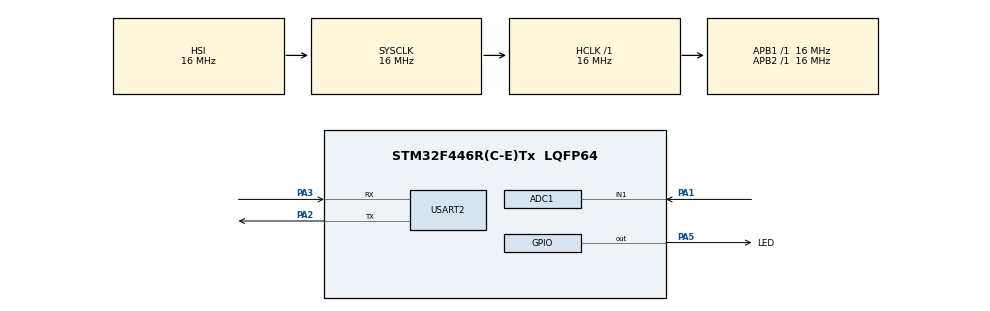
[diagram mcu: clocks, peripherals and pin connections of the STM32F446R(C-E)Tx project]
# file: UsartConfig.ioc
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ADC1.Channel-20\#ChannelRegularConversion=ADC_CHANNEL_1
ADC1.ClockPrescaler=ADC_CLOCK_SYNC_PCLK_DIV8
ADC1.ContinuousConvMode=ENABLE
ADC1.DMAContinuousRequests=ENABLE
ADC1.NbrOfConversionFlag=1
ADC1.Rank-20\#ChannelRegularConversion=1
ADC1.SamplingTime-20\#ChannelRegularConversion=ADC_SAMPLETIME_480CYCLES
ADC1.master=1
Dma.ADC1.0.Direction=DMA_PERIPH_TO_MEMORY
Dma.ADC1.0.FIFOMode=DMA_FIFOMODE_ENABLE
Dma.ADC1.0.FIFOThreshold=DMA_FIFO_THRESHOLD_HALFFULL
Dma.ADC1.0.Instance=DMA2_Stream0
Dma.ADC1.0.MemBurst=DMA_MBURST_SINGLE
Dma.ADC1.0.MemDataAlignment=DMA_MDATAALIGN_WORD
Dma.ADC1.0.MemInc=DMA_MINC_ENABLE
Dma.ADC1.0.Mode=DMA_CIRCULAR
Dma.ADC1.0.PeriphBurst=DMA_PBURST_SINGLE
Dma.ADC1.0.PeriphDataAlignment=DMA_PDATAALIGN_WORD
Dma.ADC1.0.PeriphInc=DMA_PINC_DISABLE
Dma.ADC1.0.Priority=DMA_PRIORITY_LOW
Dma.Request0=ADC1
Mcu.Family=STM32F4
Mcu.Name=STM32F446R(C-E)Tx
Mcu.Package=LQFP64
NVIC.ADC_IRQn=true\:0\:0\:false\:false\:true\:true
NVIC.DMA2_Stream0_IRQn=true\:0\:0\:false\:false\:true\:false
NVIC.PriorityGroup=NVIC_PRIORITYGROUP_4
NVIC.USART2_IRQn=true\:0\:0\:false\:false\:true\:true
PA1.Signal=ADCx_IN1
PA2.Mode=Asynchronous
PA2.Signal=USART2_TX
PA3.Mode=Asynchronous
PA3.Signal=USART2_RX
PA5.GPIO_Label=LED
PA5.Signal=GPIO_Output
PH0-OSC_IN.Mode=HSE-External-Oscillator
PH0-OSC_IN.Signal=RCC_OSC_IN
PH1-OSC_OUT.Mode=HSE-External-Oscillator
PH1-OSC_OUT.Signal=RCC_OSC_OUT
ProjectManager.HeapSize=0x200
ProjectManager.StackSize=0x400
ProjectManager.TargetToolchain=MDK-ARM V5
RCC.AHBFreq_Value=16000000
RCC.APB1Freq_Value=16000000
RCC.APB1TimFreq_Value=16000000
RCC.APB2Freq_Value=16000000
RCC.APB2TimFreq_Value=16000000
RCC.CortexFreq_Value=16000000
RCC.HCLKFreq_Value=16000000
RCC.PLLM=8
RCC.PLLN=72
RCC.SYSCLKFreq_VALUE=16000000
RCC.USBFreq_Value=72000000
RCC.VCOOutputFreq_Value=144000000
SH.ADCx_IN1.0=ADC1_IN1,IN1
USART2.VirtualMode=VM_ASYNC
board=UsartConfig

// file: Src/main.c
/**
  ******************************************************************************
  * File Name          : main.c
  * Description        : Main program body
  ******************************************************************************
  ** This notice applies to any and all portions of this file
  * that are not between comment pairs USER CODE BEGIN and
  * USER CODE END. Other portions of this file, whether
  * inserted by the user or by software development tools
  * are owned by their respective copyright owners.
  *
  * COPYRIGHT(c) 2018 STMicroelectronics
  *
  * Redistribution and use in source and binary forms, with or without modification,
  * are permitted provided that the following conditions are met:
  *   1. Redistributions of source code must retain the above copyright notice,
  *      this list of conditions and the following disclaimer.
  *   2. Redistributions in binary form must reproduce the above copyright notice,
  *      this list of conditions and the following disclaimer in the documentation
  *      and/or other materials provided with the distribution.
  *   3. Neither the name of STMicroelectronics nor the names of its contributors
  *      may be used to endorse or promote products derived from this software
  *      without specific prior written permission.
  *
  * THIS SOFTWARE IS PROVIDED BY THE COPYRIGHT HOLDERS AND CONTRIBUTORS "AS IS"
  * AND ANY EXPRESS OR IMPLIED WARRANTIES, INCLUDING, BUT NOT LIMITED TO, THE
  * IMPLIED WARRANTIES OF MERCHANTABILITY AND FITNESS FOR A PARTICULAR PURPOSE ARE
  * DISCLAIMED. IN NO EVENT SHALL THE COPYRIGHT HOLDER OR CONTRIBUTORS BE LIABLE
  * FOR ANY DIRECT, INDIRECT, INCIDENTAL, SPECIAL, EXEMPLARY, OR CONSEQUENTIAL
  * DAMAGES (INCLUDING, BUT NOT LIMITED TO, PROCUREMENT OF SUBSTITUTE GOODS OR
  * SERVICES; LOSS OF USE, DATA, OR PROFITS; OR BUSINESS INTERRUPTION) HOWEVER
  * CAUSED AND ON ANY THEORY OF LIABILITY, WHETHER IN CONTRACT, STRICT LIABILITY,
  * OR TORT (INCLUDING NEGLIGENCE OR OTHERWISE) ARISING IN ANY WAY OUT OF THE USE
  * OF THIS SOFTWARE, EVEN IF ADVISED OF THE POSSIBILITY OF SUCH DAMAGE.
  *
  ******************************************************************************
  */

#include "main.h"
#include "stm32f4xx_hal.h"

/* USER CODE BEGIN Includes */
#include "string.h"
#include "math.h"

/* USER CODE END Includes */

ADC_HandleTypeDef hadc1;
DMA_HandleTypeDef hdma_adc1;

UART_HandleTypeDef huart2;

/* USER CODE BEGIN PV */
/* Private variables ---------------------------------------------------------*/

#define RX_BUFFER_SIZE 1000
#define TX_BUFFER_SIZE 1000
#define RX_STR_UNTIL_LF_SIZE 1000
#define ADC_BUFFER_SIZE 1000
#define CMD_ARRAY_SIZE 1000
#define PARAM_ARRAY_SIZE 1000
uint8_t rx_Buffer[RX_BUFFER_SIZE];
uint8_t tx_Buffer[TX_BUFFER_SIZE];
char rx_str_until_lf[RX_STR_UNTIL_LF_SIZE];
uint8_t char_to_send[1];
uint32_t ADC_Buffer[ADC_BUFFER_SIZE];
int cmd_Array[CMD_ARRAY_SIZE];
uint32_t param_Array[PARAM_ARRAY_SIZE];
char tabCheckCmd[5];

char cmdOne[] = {'c', 'm', 'd', '1', '\0'};
char cmdTwo[] = {'c', 'm', 'd', '2', '\0'};
char cmdThree[] = {'c', 'm', 'd', '3', '\0'};

//wskazniki do odczytu oraz zapisu w buforze
uint16_t volatile rx_rd_index;
uint16_t volatile rx_wr_index;
uint16_t volatile tx_wr_index;
uint16_t volatile tx_rd_index;
uint16_t volatile rx_str_until_lf_index;
uint16_t volatile tx_str_until_lf_index;
uint16_t volatile temp_wr_index;
uint16_t volatile cmd_Array_wr_index;
uint16_t volatile param_Array_wr_index;
uint16_t volatile cmd_Array_rd_index;
uint16_t volatile param_Array_rd_index;

float AverageADCValue;
float Temperature;
float Vsense;
float SD; // odchylenie standardowe (Standard Deviation)

const float V25 = 0.75;
const float Avg_slope = 0.001;
const float SupplyVoltage = 3.3;
const float ADCResolution = 4096.0;

		union
		{
		uint64_t i;
		float f;
		}var1,var2,var3,var4;

// liczniki elementów w buforze
uint16_t volatile rx_counter;
uint16_t volatile tx_counter;
uint16_t volatile cmd_counter;

uint32_t volatile tick_ms;
uint32_t volatile writeFlashTimeInterval;
uint32_t volatile measurementTime;
uint32_t volatile numberOfmeasurementsToReadFromFlash;
uint8_t volatile measurementInProgressFlag;
uint8_t volatile readyToDisplayFlag;
uint32_t volatile tx_Uart_tickstart;
uint32_t volatile blink_Led_tickstart;

uint16_t volatile transferInProgress;

// wskaznik, któremu zostanie przypisany pierwszy wolny adres podczas zapisu do pamieci FLASH
uint32_t *mem;
// adres pod którym zostanie zapisany pomiar
uint32_t Address;

// wskazuje na przepelnienie bufora
volatile uint8_t rx_overflow;

/* USER CODE END PV */

void SystemClock_Config(void);
static void MX_GPIO_Init(void);
static void MX_DMA_Init(void);
static void MX_USART2_UART_Init(void);
static void MX_ADC1_Init(void);

/* USER CODE BEGIN PFP */
/* Private function prototypes -----------------------------------------------*/

// prototyp funkcji, która przetwarza i interpretuje lancuch znaków przeslanych do mikrokontrolera przez UART
void processIncomingCharacters(void);
// prototyp funkckcji, kióra wykonuje rozpoznane polecenia
void executeCommands(void);
// protptyp funkcji czytajacej znak z bufora rxBuffer
char RxBufferGetChar(void);
// prototyp funkcji czytajacej znak z bufora tx_Buffer
char TxBufferGetChar(void);
// zeruje Rx_Str_Until_Lf_Buffer
void Clear_Rx_Str_Until_Lf_Buffer(void);
// zeruje Tx_Str_Until_Lf_Buffer
void Clear_char_to_send(void);
// porównuje dwa lancuchy znaków
int compare_strings(char *first, char *second);
// sprawdza czy za komenda znajduja sie 4 cyfry
void checkDigits(void);
// zapisuje do pamieci Flash
void writeFlash(void);
// odczytuje z pamieci Flash
void readFlash(int numberOfMeasurementsToRead);
// zwraca pierwszy wolny adres w sektorze
uint32_t* returnPointerToFirstEmptyAddressInSector(void);
// wyswietla pomiary na konsole monitora
void sendDataOverUart(void);
// miga dioda podczas pomiarów
void blinkLed(void);
// zatrzymuje pomiary
void stopMeasurements(void);
// inicjalizuje parametry nad podstawie wykrytych komend
void initializeParams(void);
/* USER CODE END PFP */

/* USER CODE BEGIN 0 */

// obsluga przerwania od wysylania
void HAL_UART_TxCpltCallback(UART_HandleTypeDef *huart){

			if (tx_counter > 0){

				char_to_send[0] = TxBufferGetChar();
				HAL_UART_Transmit_IT(&huart2, (uint8_t*)char_to_send, 1);
			}

			else if (tx_counter == 0)
			{
					transferInProgress = 0;
			}
}

// zwieksza indeks do zapisu i ponownie uruchamia przerwanie od odbioru
void HAL_UART_RxCpltCallback(UART_HandleTypeDef *huart){

		 rx_wr_index++;
		 rx_counter++;
		 if(rx_wr_index >= RX_BUFFER_SIZE)
		{
			rx_wr_index = 0;
		}

		HAL_UART_Receive_IT(&huart2,&rx_Buffer[rx_wr_index],1);

}

void HAL_ADC_ConvCpltCallback(ADC_HandleTypeDef *hadc){

	// liczy sredni pomiar i temperature
	int tmp = 0;
	float avg = 0.0;

	for (int i = 500 ; i < ADC_BUFFER_SIZE; i++)
	{
		tmp += ADC_Buffer[i];
	}

	avg = (float)tmp / 500;

	Vsense = (SupplyVoltage*avg)/(ADCResolution-1);
	Temperature = (Vsense - 0.5f) * 100;

	AverageADCValue = avg;

	float sum = 0.0;

	for (int i = 0; i < ADC_BUFFER_SIZE; i++)
	{
		sum += (ADC_Buffer[i] - avg) * (ADC_Buffer[i] - avg);
	}

	float Vsense_sum = (SupplyVoltage * sum) / (ADCResolution - 1);
	float sumC = (Vsense_sum - 0.5f) * 100;
	SD = (float)(sqrt(sumC / (double) 500));
}

void HAL_ADC_ConvHalfCpltCallback(ADC_HandleTypeDef *hadc){

	// liczy sredni pomiar i temperature
	int tmp = 0;
	float avg = 0.0;

	for (int i = 0 ; i < 500; i++)
	{
		tmp += ADC_Buffer[i];
	}

	avg = (float)tmp / 500;

	Vsense = (SupplyVoltage*avg)/(ADCResolution-1);
	Temperature = (Vsense - 0.5f) * 100;

	AverageADCValue = avg;

	float sum = 0.0;

	for (int i = 0; i < 500; i++)
	{
		sum += (ADC_Buffer[i] - avg) * (ADC_Buffer[i] - avg);
	}

	float Vsense_sum = (SupplyVoltage * sum) / (ADCResolution - 1);
	float sumC = (Vsense_sum - 0.5f) * 100;
	SD = (float)(sqrt(sumC / (double) 500));
}

void HAL_SYSTICK_Callback()
{
	tick_ms++;
	if (measurementTime != 0 && tick_ms % 1000 == 0)
	{
		measurementTime--;
	}

}

/* USER CODE END 0 */

int main(void)
{

  /* MCU Configuration----------------------------------------------------------*/

  /* Reset of all peripherals, Initializes the Flash interface and the Systick. */
  HAL_Init();

  /* Configure the system clock */
  SystemClock_Config();

  /* Initialize all configured peripherals */
  MX_GPIO_Init();
  MX_DMA_Init();
  MX_USART2_UART_Init();
  MX_ADC1_Init();

  /* USER CODE BEGIN 2 */
	//__HAL_UART_ENABLE_IT(&huart2, UART_IT_RXNE);

	// uruchamiamy nasluchiwanie od odbioru na kanale UART
	HAL_UART_Receive_IT(&huart2, &rx_Buffer[rx_wr_index],1);

	// inicjacja wartosci tików dla transmisji przez Uart oraz dla migania diody
	tx_Uart_tickstart = HAL_GetTick();
	blink_Led_tickstart = HAL_GetTick();

  /* USER CODE END 2 */

  /* Infinite loop */
  while (1)
  {

  /* USER CODE BEGIN 3 */

			processIncomingCharacters();  											// interpretuje i przetwarza przychodzace do mikrokontrolera znaki

			initializeParams();																	// inicjalizuje parametry w oparciu o rodzaj komendy

			blinkLed();																					// uruchamia miganie dioda podczas pomiaru

			writeFlash();																				// uruchamia zapis do pamieci Flash z okreslonym parametrem

			sendDataOverUart();																	// wysyla dane przez UART

			readFlash(numberOfmeasurementsToReadFromFlash);			// czyta z pamieci Flash - ilosc odczytów okresla param przeslany do funkcji

			stopMeasurements();																	// zatrzymuje pomiary oraz zapis do pamieci Flash

  }
  /* USER CODE END 3 */

}

/** System Clock Configuration
*/
void SystemClock_Config(void)
{

  RCC_OscInitTypeDef RCC_OscInitStruct;
  RCC_ClkInitTypeDef RCC_ClkInitStruct;

    /**Configure the main internal regulator output voltage
    */
  __HAL_RCC_PWR_CLK_ENABLE();

  __HAL_PWR_VOLTAGESCALING_CONFIG(PWR_REGULATOR_VOLTAGE_SCALE3);

    /**Initializes the CPU, AHB and APB busses clocks
    */
  RCC_OscInitStruct.OscillatorType = RCC_OSCILLATORTYPE_HSI;
  RCC_OscInitStruct.HSIState = RCC_HSI_ON;
  RCC_OscInitStruct.HSICalibrationValue = 16;
  RCC_OscInitStruct.PLL.PLLState = RCC_PLL_NONE;
  if (HAL_RCC_OscConfig(&RCC_OscInitStruct) != HAL_OK)
  {
    _Error_Handler(__FILE__, __LINE__);
  }

    /**Initializes the CPU, AHB and APB busses clocks
    */
  RCC_ClkInitStruct.ClockType = RCC_CLOCKTYPE_HCLK|RCC_CLOCKTYPE_SYSCLK
                              |RCC_CLOCKTYPE_PCLK1|RCC_CLOCKTYPE_PCLK2;
  RCC_ClkInitStruct.SYSCLKSource = RCC_SYSCLKSOURCE_HSI;
  RCC_ClkInitStruct.AHBCLKDivider = RCC_SYSCLK_DIV1;
  RCC_ClkInitStruct.APB1CLKDivider = RCC_HCLK_DIV1;
  RCC_ClkInitStruct.APB2CLKDivider = RCC_HCLK_DIV1;

  if (HAL_RCC_ClockConfig(&RCC_ClkInitStruct, FLASH_LATENCY_0) != HAL_OK)
  {
    _Error_Handler(__FILE__, __LINE__);
  }

    /**Configure the Systick interrupt time
    */
  HAL_SYSTICK_Config(HAL_RCC_GetHCLKFreq()/1000);

    /**Configure the Systick
    */
  HAL_SYSTICK_CLKSourceConfig(SYSTICK_CLKSOURCE_HCLK);

  /* SysTick_IRQn interrupt configuration */
  HAL_NVIC_SetPriority(SysTick_IRQn, 0, 0);
}

/* ADC1 init function */
static void MX_ADC1_Init(void)
{

  ADC_ChannelConfTypeDef sConfig;

    /**Configure the global features of the ADC (Clock, Resolution, Data Alignment and number of conversion)
    */
  hadc1.Instance = ADC1;
  hadc1.Init.ClockPrescaler = ADC_CLOCK_SYNC_PCLK_DIV8;
  hadc1.Init.Resolution = ADC_RESOLUTION_12B;
  hadc1.Init.ScanConvMode = DISABLE;
  hadc1.Init.ContinuousConvMode = ENABLE;
  hadc1.Init.DiscontinuousConvMode = DISABLE;
  hadc1.Init.ExternalTrigConvEdge = ADC_EXTERNALTRIGCONVEDGE_NONE;
  hadc1.Init.ExternalTrigConv = ADC_SOFTWARE_START;
  hadc1.Init.DataAlign = ADC_DATAALIGN_RIGHT;
  hadc1.Init.NbrOfConversion = 1;
  hadc1.Init.DMAContinuousRequests = ENABLE;
  hadc1.Init.EOCSelection = ADC_EOC_SINGLE_CONV;
  if (HAL_ADC_Init(&hadc1) != HAL_OK)
  {
    _Error_Handler(__FILE__, __LINE__);
  }

    /**Configure for the selected ADC regular channel its corresponding rank in the sequencer and its sample time.
    */
  sConfig.Channel = ADC_CHANNEL_1;
  sConfig.Rank = 1;
  sConfig.SamplingTime = ADC_SAMPLETIME_480CYCLES;
  if (HAL_ADC_ConfigChannel(&hadc1, &sConfig) != HAL_OK)
  {
    _Error_Handler(__FILE__, __LINE__);
  }

}

/* USART2 init function */
static void MX_USART2_UART_Init(void)
{

  huart2.Instance = USART2;
  huart2.Init.BaudRate = 115200;
  huart2.Init.WordLength = UART_WORDLENGTH_8B;
  huart2.Init.StopBits = UART_STOPBITS_1;
  huart2.Init.Parity = UART_PARITY_NONE;
  huart2.Init.Mode = UART_MODE_TX_RX;
  huart2.Init.HwFlowCtl = UART_HWCONTROL_NONE;
  huart2.Init.OverSampling = UART_OVERSAMPLING_16;
  if (HAL_UART_Init(&huart2) != HAL_OK)
  {
    _Error_Handler(__FILE__, __LINE__);
  }

}

static void MX_DMA_Init(void)
{
  /* DMA controller clock enable */
  __HAL_RCC_DMA2_CLK_ENABLE();

  /* DMA interrupt init */
  /* DMA2_Stream0_IRQn interrupt configuration */
  HAL_NVIC_SetPriority(DMA2_Stream0_IRQn, 0, 0);
  HAL_NVIC_EnableIRQ(DMA2_Stream0_IRQn);

}

/** Configure pins as
        * Analog
        * Input
        * Output
        * EVENT_OUT
        * EXTI
*/
static void MX_GPIO_Init(void)
{

  GPIO_InitTypeDef GPIO_InitStruct;

  /* GPIO Ports Clock Enable */
  __HAL_RCC_GPIOH_CLK_ENABLE();
  __HAL_RCC_GPIOA_CLK_ENABLE();

  /*Configure GPIO pin Output Level */
  HAL_GPIO_WritePin(LED_GPIO_Port, LED_Pin, GPIO_PIN_RESET);

  /*Configure GPIO pin : LED_Pin */
  GPIO_InitStruct.Pin = LED_Pin;
  GPIO_InitStruct.Mode = GPIO_MODE_OUTPUT_PP;
  GPIO_InitStruct.Pull = GPIO_NOPULL;
  GPIO_InitStruct.Speed = GPIO_SPEED_FREQ_LOW;
  HAL_GPIO_Init(LED_GPIO_Port, &GPIO_InitStruct);

}

/* USER CODE BEGIN 4 */

// przetwarza i interpretuje przychodzace z PC do mikrokontrolera znaki oraz filtruje polecenia
void processIncomingCharacters(void)
{
		if (rx_counter > 0)
		{

			char tmp = 0;
			tmp = RxBufferGetChar();
			rx_str_until_lf[rx_str_until_lf_index] = tmp;
			rx_str_until_lf_index++;

			// jesli przyjdzie znak konca ramiki <LF>
			if (tmp == '\n' && rx_str_until_lf_index <= RX_STR_UNTIL_LF_SIZE)
			{

				// sprawdzamy czy to, co przyszlo jest zdefiniowana globalnie komenda cmd1, cmd2, cmd3

				for (int j = 0, k = rx_str_until_lf_index - 9; j < 4; j++, k++)
				{
					tabCheckCmd[j] = rx_str_until_lf[k];
				}
				// dopisujemy zero na koncu, bedzie potrzebne do porównania lancuchow
				tabCheckCmd[4] = '\0';

				 // jesli pojawia sie polecenie cmd1, cmd2 lub cmd3
				 if (compare_strings(tabCheckCmd, cmdOne) == 0 ||
						 compare_strings(tabCheckCmd, cmdTwo) == 0 ||
						 compare_strings(tabCheckCmd, cmdThree) == 0){

					 // sprawdzamy czy za poleceniem znajduja sie 4 cyfry

						checkDigits();

				}

				// jesli nie rozpoznano komendy zerujemy indeks i czyscimy bufor Str_Until_Lf
				else
				{
					rx_str_until_lf_index = 0;
					Clear_Rx_Str_Until_Lf_Buffer();
				}

			}

			// przepisanie ostatnich 8 elementów tablicy str_until_lf, gdy ostatni znak tej tablicy nie jest '\n'
			else if (rx_str_until_lf_index == RX_STR_UNTIL_LF_SIZE && tmp != '\n')
			{

					char tab[8];
					for (int j = rx_str_until_lf_index - 8, k = 0; k < 8; j++, k++)
					{
						tab[k] = rx_str_until_lf[j];
					}
					rx_str_until_lf_index = 0;

					for (int j = rx_str_until_lf_index; j < strlen(tab); j++)
					{
						rx_str_until_lf[j] = tab[j];
					  rx_str_until_lf_index++;
					}
					// pozostala czesc tablicy str_until_lf jest zerowana
					for ( int j = rx_str_until_lf_index; j < RX_STR_UNTIL_LF_SIZE; j++)
					{
						rx_str_until_lf[j] = 0;
					}
			}
		}
}

// sprawdza czy za wykrytym poleceniem znajduja sie 4 cyfry
void checkDigits(void){

		char tempTabCheckDigits[5];
		for (int j = 0, k = rx_str_until_lf_index - 5; j < 4; j++, k++)
		{
			tempTabCheckDigits[j] = rx_str_until_lf[k];
		}
		int m = 0;
		while(1)
		{
				if(tempTabCheckDigits[m] > 57 || tempTabCheckDigits[m] < 48)
				{
					break;
				}
				m++;
				/* jesli znajduja sie cztery cyfry konwertujemy tablice char na wartosc int
					wpisujemy skonwertowana wartosc liczbowa do tablicy parametrow
					cyfry moga byc tylko 4, gdyz wczesniej program "wycial" 8 znaków i potwierdzil,
					ze pierwsze 4 to komenda */
				if (m == 4)
				{
						tempTabCheckDigits[4] = '\0';
						sscanf(tempTabCheckDigits, "%d", &param_Array[param_Array_wr_index++]);
						int cmdSum = 0;
						for (int j = 0; j < 4; j++)
						{
							cmdSum += tabCheckCmd[j];
						}
						// wpisujemy rozpoznana komende do tablicy komend
						cmd_Array[cmd_Array_wr_index++] = cmdSum;
						if (cmd_Array_wr_index == CMD_ARRAY_SIZE)
						{
							cmd_Array_wr_index = 0;
						}
						// zwiekszamy licznik komend
						cmd_counter++;
								break;
					}
			}
						rx_str_until_lf_index = 0;
						Clear_Rx_Str_Until_Lf_Buffer();
}

// inicjalizuje parametry na podstawie komend
void initializeParams(void){

	if (cmd_counter > 0){

			if (cmd_Array[cmd_Array_rd_index] == 357){

					//Rozpoczyna pomiary, uruchamia przesyl konwersji z ADC do ADC_Buffer przez DMA
					// pomiar trwa przez zadany czas podany w sekundach (0001, 0002, 0003, etc.)
					measurementTime = param_Array[param_Array_rd_index];
					if (measurementTime != 0)
					{
						HAL_ADC_Start_DMA(&hadc1, ADC_Buffer, ADC_BUFFER_SIZE);
						measurementInProgressFlag = 1;
					}
					param_Array_rd_index++;
					if (param_Array_rd_index == PARAM_ARRAY_SIZE)
					{
						param_Array_rd_index = 0;
					}
					cmd_Array_rd_index++;
					if (cmd_Array_rd_index == CMD_ARRAY_SIZE)
					{
						cmd_Array_rd_index = 0;
					}
					cmd_counter--;

			}

			if (cmd_Array[cmd_Array_rd_index] == 358){

					//zapisuje pomiary do Flash z okreslonym interwalem czasowym podanym jako parametr wywolanej funkcji
					//interwal zapisu podany jest w milisekindach (1000, 2000, 3000, 4000, etc.)
					writeFlashTimeInterval = param_Array[param_Array_rd_index];
					param_Array_rd_index++;
					if (param_Array_rd_index == PARAM_ARRAY_SIZE)
					{
						param_Array_rd_index = 0;
					}
					cmd_Array_rd_index++;
					if (cmd_Array_rd_index == CMD_ARRAY_SIZE)
					{
						cmd_Array_rd_index = 0;
					}
					cmd_counter--;

			}

			if (cmd_Array[cmd_Array_rd_index] == 359){

					// odczytuje zapisane wartosci w pamieci,
				 // ilosc zwróconych odczytów wskazuje parametr (0001, 0002, 0003, 0004, etc.)
					numberOfmeasurementsToReadFromFlash = param_Array[param_Array_rd_index];
					param_Array_rd_index++;
					if (param_Array_rd_index == PARAM_ARRAY_SIZE)
					{
						param_Array_rd_index = 0;
					}
					cmd_Array_rd_index++;
					if (cmd_Array_rd_index == CMD_ARRAY_SIZE)
					{
						cmd_Array_rd_index = 0;
					}
					cmd_counter--;

			}
		}

}

// zatrzymuje pomiary

void stopMeasurements(void){

		if (measurementTime == 0)
		{
			HAL_ADC_Stop_DMA(&hadc1);
			measurementInProgressFlag = 0;
			HAL_GPIO_WritePin(LED_GPIO_Port, LED_Pin, GPIO_PIN_RESET);
			writeFlashTimeInterval = 0;
		}
}

// funkcja miga dioda gdy trwa pomiar
void blinkLed(void){

		if (measurementTime != 0)
		{
			if(HAL_GetTick() - blink_Led_tickstart >= 500)
			{
				HAL_GPIO_TogglePin(LED_GPIO_Port, LED_Pin);
				blink_Led_tickstart = HAL_GetTick();
			}
		}

}

// zapisuje do pamieci pomiar temperatury oraz odchylenie standardowe
void writeFlash(void){

	if ((measurementTime != 0) && (writeFlashTimeInterval != 0) && (tick_ms % writeFlashTimeInterval == 0)){

	mem = returnPointerToFirstEmptyAddressInSector();
	Address = (uint32_t)mem;
	var1.f = Temperature;
	var2.f = SD;
	HAL_FLASH_Unlock();
	__HAL_FLASH_CLEAR_FLAG(FLASH_FLAG_EOP | FLASH_FLAG_OPERR | FLASH_FLAG_WRPERR | FLASH_FLAG_PGAERR | FLASH_FLAG_PGSERR | FLASH_FLAG_PGPERR);

	HAL_FLASH_Program(TYPEPROGRAM_WORD, Address, var1.i );

	mem++;
	Address = (uint32_t)mem;

	HAL_FLASH_Program(TYPEPROGRAM_WORD, Address, var2.i);
	HAL_FLASH_Lock();

	}
}
// odczytuje z pamieci FLASH pomiary i zapisuje w buforze nadawczym
void readFlash(int numberOfMeasurementsToRead){

	if( numberOfmeasurementsToReadFromFlash != 0 ){
	uint32_t *mem;
	mem = returnPointerToFirstEmptyAddressInSector();
	char buffer[10];
	uint32_t *firstAddressInSector = (uint32_t *)0x08060000;
	for (int i = 0; i < numberOfMeasurementsToRead; i++)
	{
			mem--; // cofamy wskaznik o 4 bajty na ostatni zapisany adres
			if (mem < firstAddressInSector)
			{
				break;
			}
			var3.i = *mem;
			// konwertujemy wartosc typu float na tablice char
			snprintf(buffer, 10, "%.2f%cC\n", var3.f, 0x00B0);
			for (int j = 0; j < strlen(buffer); j++)
			{
				// zapisujemy kolejne znaki do bufora nadawczego tx_Buffer
				tx_Buffer[tx_wr_index] = buffer[j];
				tx_counter++;
				tx_wr_index++;
				if(tx_wr_index > TX_BUFFER_SIZE)
				{
					tx_wr_index = 0;
				}
			}
	}
		numberOfmeasurementsToReadFromFlash = 0;
	}

}

// funkcja wysyla dane przez USART. Pierwszy znak jest wywylany z watku glównego, kolejne w przerwaniu (Callback)
void sendDataOverUart(void)
{
			if( tx_counter > 0 && transferInProgress == 0){

				char_to_send[0] = TxBufferGetChar();
				HAL_UART_Transmit_IT(&huart2, (uint8_t*)char_to_send, 1);
				transferInProgress = 1;
		}
}
// funkcja pozwala porównywac lancuchy znaków
int compare_strings(char *first, char *second) {
   while (*first == *second) {
      if (*first == '\0' || *second == '\0')
         break;

      first++;
      second++;
   }

   if (*first == '\0' && *second == '\0')
      return 0;
   else
      return -1;
}

// funkcja zerujaca bufor rx_str_until_lf
void Clear_Rx_Str_Until_Lf_Buffer(void)
{
	for (int i = 0; i < RX_BUFFER_SIZE; i++)
	{
		rx_str_until_lf[i] = 0;
	}

}

// funkcja zerujaca bufor tx_str_until_lf
void Clear_char_to_send(void)
{
	for (int i = 0; i < TX_BUFFER_SIZE; i++)
	{
			char_to_send[i] = 0;
	}

}

// definicja funkcji czytajacej znak z tx_Buffer
char TxBufferGetChar(void)
{
	char tmp;

	// czytamy znak z bufora tx_Buffer i zapisujemy do zmiennej tmp
	tmp = tx_Buffer[tx_rd_index];

	// po odczycie zwiekszamy indeks do odczytu
	tx_rd_index++;

	// jezeli indeks wskazuje na koniec bufora to zerujemy indeks
	if(tx_rd_index >= TX_BUFFER_SIZE)
	{
		tx_rd_index = 0;
	}

	// zmniejszamy stan licznika tx_counter
	tx_counter--;

	return tmp;
}

// definicja funkcji czytajacej znak z rx_Buffer
char RxBufferGetChar(void)
{
	char tmp;
	// jezeli do bufora zostanie zapisany znak czytamy go i zapisujemy do zmiennej tmp
	tmp = rx_Buffer[rx_rd_index];
	// po odczycie zwiekszamy indeks do odczytu
	rx_rd_index++;
	// jezeli indeks wskazuje na koniec bufora zerujemy indeks
	if (rx_rd_index >= RX_BUFFER_SIZE)
	{
		rx_rd_index = 0;
	}
	//wylaczamy na chwile przerwania od odbioru, aby zmniejszyc stan licznika rx_counter
	__disable_irq();
	rx_counter--;
	__enable_irq();
	return tmp;
}
	// zwraca wskaznik na pierwszy niezapisany bajt w Sektorze nr 7
	// jesli sektor jest w calosci zapisany wymazuje caly sektor i ustawia na pierwszy bajt w sektorze
	uint32_t* returnPointerToFirstEmptyAddressInSector()
{
	uint32_t *mem = (uint32_t *)0x08060000;
	uint32_t *lastAddressInSector = (uint32_t *)0x0807FFFF;

	while(*mem != 0xFFFFFFFF)
	{
		// przesuwamy o 4 bajty
		mem++;

		if (mem > lastAddressInSector)
		{
			mem = (uint32_t *) 0x8060000;
			HAL_FLASH_Unlock();
			__HAL_FLASH_CLEAR_FLAG(FLASH_FLAG_EOP | FLASH_FLAG_OPERR | FLASH_FLAG_WRPERR | FLASH_FLAG_PGAERR | FLASH_FLAG_PGSERR | FLASH_FLAG_PGPERR);
			FLASH_Erase_Sector(FLASH_SECTOR_7, VOLTAGE_RANGE_3);
			HAL_FLASH_Lock();
		}
	}

	return mem;

}

/* USER CODE END 4 */

void _Error_Handler(char * file, int line)
{
  while(1)
  {
  }
}

/************************ (C) COPYRIGHT STMicroelectronics *****END OF FILE****/
